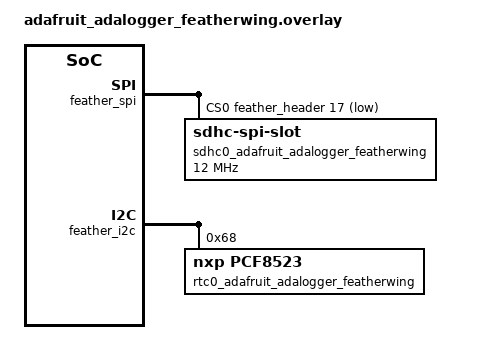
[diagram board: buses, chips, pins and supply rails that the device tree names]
/*
 * Copyright (c) 2024 Philip-Dylan Gleonec <philip-dylan@gleonec.bzh>
 *
 * SPDX-License-Identifier: Apache-2.0
 */

/ {
	aliases {
		rtc = &rtc0_adafruit_adalogger_featherwing;
		sdhc0 = &sdhc0_adafruit_adalogger_featherwing;
	};
};

&feather_spi {
	status = "okay";
	cs-gpios = <&feather_header 17 GPIO_ACTIVE_LOW>; /* D10 */

	sdhc0_adafruit_adalogger_featherwing: sdhc@0 {
		compatible = "zephyr,sdhc-spi-slot";
		reg = <0>;
		spi-max-frequency = <12000000>;
		status = "okay";

		sdmmc {
			compatible = "zephyr,sdmmc-disk";
			status = "okay";
		};
	};
};

&feather_i2c {
	status = "okay";

	rtc0_adafruit_adalogger_featherwing: rtc@68 {
		compatible = "nxp,pcf8523";
		reg = <0x68>;
		alarms-count = <1>;
		battery-switch-over = "standard";
		status = "okay";
	};
};
